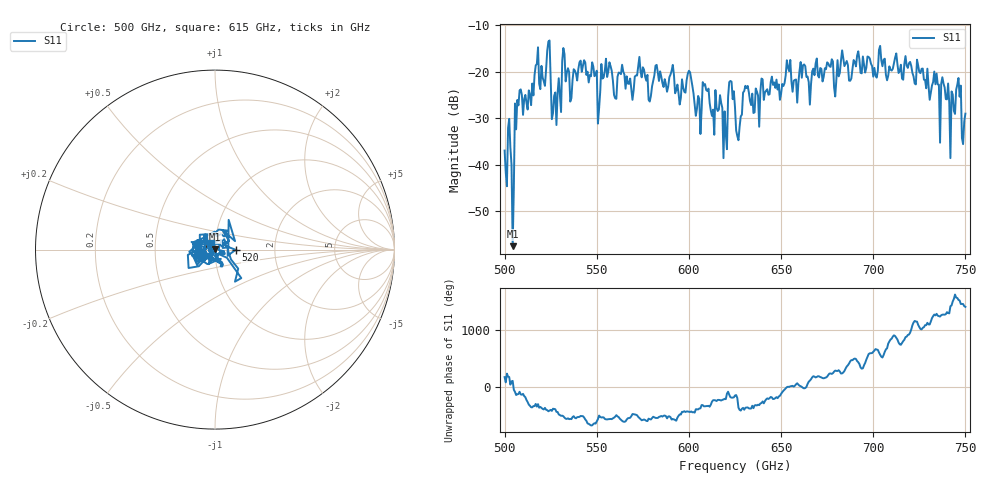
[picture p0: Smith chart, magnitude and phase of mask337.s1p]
!Created with skrf (http://scikit-rf.org).
# GHz S MA R 50.0
!freq magS11 angS11
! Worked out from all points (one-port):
!   401 points, 500 GHz to 750 GHz, reference 50 ohm
!   lowest |S11| = -57.5 dB at 504.4 GHz (marker M1), VSWR 1.00, Z = 50 + j0.126 ohm
!   |S11| at or under -10 dB: start of sweep to end of sweep
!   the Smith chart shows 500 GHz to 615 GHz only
!   S11 on the Smith chart (normalised r, x): 500 GHz: 0.97, +0.00; 520 GHz: 1.26, -0.00; 615 GHz: 0.96, +0.07
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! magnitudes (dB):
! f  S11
! 500 GHz  -36.9
! 504.4 GHz  -57.5
! 508.1 GHz  -24.0
! 520 GHz  -18.8
! 523.8 GHz  -13.5
! 526.9 GHz  -25.2
! 531.2 GHz  -17.8
! 548.8 GHz  -21.0
! 550.6 GHz  -31.2
! 562.5 GHz  -20.3
! 579.4 GHz  -25.2
! 590.6 GHz  -19.8
! 593.8 GHz  -22.8
! 600 GHz  -19.8
! 605 GHz  -25.2
! 608.8 GHz  -22.7
! 615 GHz  -27.7
! 619.4 GHz  -28.5
! 623.1 GHz  -22.2
! 625 GHz  -27.7
! 626.9 GHz  -34.7
! 630.6 GHz  -23.0
! 656.2 GHz  -24.3
! 687.5 GHz  -22.0
! 718.8 GHz  -19.2
! 743.1 GHz  -24.9
! 746.2 GHz  -21.4
! 750 GHz  -29.0
